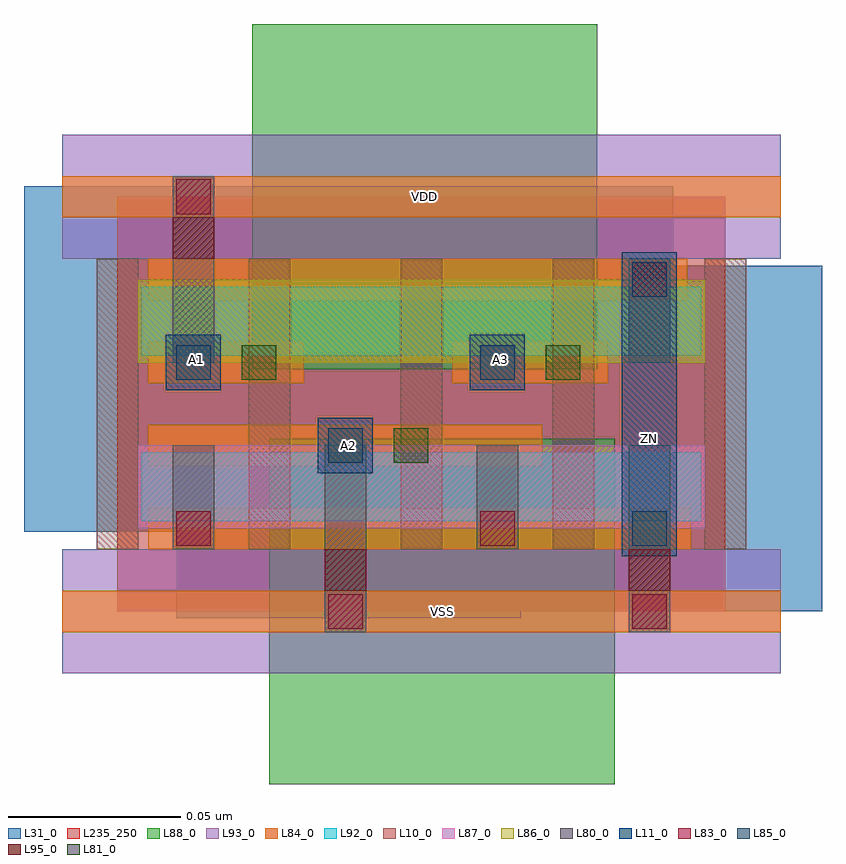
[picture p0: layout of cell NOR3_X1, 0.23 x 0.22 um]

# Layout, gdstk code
import gdstk
lib = gdstk.Library(unit=1e-6, precision=1e-09)
def R(c, l, rs):  # rectangles x0, y0, x1, y1
    for r in rs: c.add(gdstk.rectangle(r[:2], r[2:], *l))
def A(c, l, x, y, w, h, nx, ny, dx, dy):  # array of equal rectangles
    R(c, l, [(x+i*dx, y+j*dy, x+i*dx+w, y+j*dy+h) for i in range(nx) for j in range(ny)])
L10_0 = (10, 0)
L11_0 = (11, 0)
L31_0 = (31, 0)
L80_0 = (80, 0)
L81_0 = (81, 0)
L83_0 = (83, 0)
L84_0 = (84, 0)
L85_0 = (85, 0)
L86_0 = (86, 0)
L87_0 = (87, 0)
L88_0 = (88, 0)
L92_0 = (92, 0)
L93_0 = (93, 0)
L95_0 = (95, 0)
L235_250 = (235, 250)

nor3_x1 = lib.new_cell('NOR3_X1')
A(nor3_x1, L10_0, -0.006, 0.018, 0.012, 0.084, 5, 1, 0.044, 0)
R(nor3_x1, L11_0, [(0.146,0.016,0.162,0.104), (0.058,0.04,0.074,0.056), (0.014,0.064,0.03,0.08), (0.102,0.064,0.118,0.08)])
R(nor3_x1, L31_0, [(0.017,-0.002,0.117,0.098), (0.104,0,0.204,0.1), (-0.027,0.023,0.073,0.123), (0.061,0.023,0.161,0.123)])
R(nor3_x1, L80_0, [(0.06,-0.006,0.072,0.048), (0.148,-0.006,0.16,0.048), (0.016,0.018,0.028,0.048), (0.104,0.018,0.116,0.048), (0.016,0.072,0.028,0.126), (0.148,0.072,0.16,0.102)])
R(nor3_x1, L81_0, [(0.08,0.043,0.09,0.053), (0.036,0.067,0.046,0.077), (0.124,0.067,0.134,0.077)])
R(nor3_x1, L83_0, [(0.061,-0.005,0.071,0.005), (0.149,-0.005,0.159,0.005), (0.017,0.019,0.027,0.029), (0.105,0.019,0.115,0.029), (0.149,0.091,0.159,0.101), (0.017,0.115,0.027,0.125)])
R(nor3_x1, L84_0, [(-0.016,-0.006,0.192,0.006), (0.009,0.018,0.166,0.03), (0.009,0.042,0.123,0.054), (0.009,0.066,0.054,0.078), (0.097,0.066,0.142,0.078), (0.009,0.09,0.165,0.102), (-0.016,0.114,0.192,0.126)])
R(nor3_x1, L85_0, [(0.149,0.019,0.159,0.029), (0.061,0.043,0.071,0.053), (0.017,0.067,0.027,0.077), (0.105,0.067,0.115,0.077), (0.149,0.091,0.159,0.101)])
R(nor3_x1, L86_0, [(0.006,0.072,0.17,0.096)])
R(nor3_x1, L87_0, [(0.006,0.024,0.17,0.048)])
R(nor3_x1, L88_0, [(0.044,-0.05,0.144,0.05), (0.039,0.07,0.139,0.17)])
R(nor3_x1, L92_0, [(0.007,0.026,0.169,0.046), (0.007,0.074,0.169,0.094)])
R(nor3_x1, L93_0, [(-0.016,-0.018,0.192,0.018), (-0.016,0.102,0.192,0.138)])
R(nor3_x1, L95_0, [(0.06,0.006,0.072,0.018), (0.148,0.006,0.16,0.018), (0.016,0.102,0.028,0.114)])
R(nor3_x1, L235_250, [(0,0,0.176,0.12)])
nor3_x1.add(gdstk.Label('VSS', (0.094,0), layer=88, texttype=0))
nor3_x1.add(gdstk.Label('VDD', (0.089,0.12), layer=88, texttype=0))
nor3_x1.add(gdstk.Label('A1', (0.023,0.073), layer=31, texttype=0))
nor3_x1.add(gdstk.Label('ZN', (0.154,0.05), layer=31, texttype=0))
nor3_x1.add(gdstk.Label('A2', (0.067,0.048), layer=31, texttype=0))
nor3_x1.add(gdstk.Label('A3', (0.111,0.073), layer=31, texttype=0))

lib.write_gds('NOR3_X1.gds')
